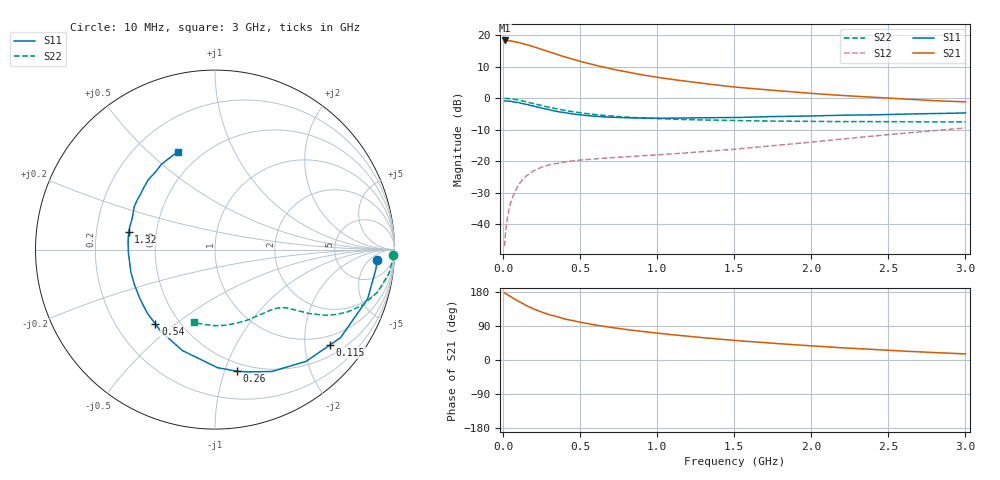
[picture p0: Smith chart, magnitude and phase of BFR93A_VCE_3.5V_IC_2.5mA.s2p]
! Infineon Technologies  Discrete & RF Semiconductors
! BFR93A
! VCE =  3.5 V,  IC =  2.5 mA
! Common Emitter S-Parameters:  Nov 2015
# GHz  S  MA  R  50
!  f  S11  S21  S12  S22
! GHz  MAG  ANG  MAG  ANG  MAG  ANG  MAG  ANG
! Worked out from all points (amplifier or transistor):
!   180 points, 10 MHz to 3 GHz, reference 50 ohm
!   highest |S21| = 18.3 dB at 10 MHz (marker M1)
!   |S21| within 3 dB of that: start of sweep to 260.8 MHz
!   unconditionally stable (mu >= 1): 935 MHz to 2.714 GHz
!   at 160 MHz: K = 0.22, MSG = 20.6 dB, |S12| = -24.3 dB
!   at 1.22 GHz: K = 1.13, MAG = 9.1 dB, |S12| = -17.2 dB
!   at 3 GHz: K = 0.95, MSG = 4.1 dB, |S12| = -9.4 dB
!   S11 on the Smith chart (normalised r, x): 10 MHz: 14, -9; 115 MHz: 0.75, -2.59; 260 MHz: 0.43, -1.10; 540 MHz: 0.37, -0.43; 1.32 GHz: 0.35, +0.09; 3 GHz: 0.38, +0.62
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0.01  0.9066 -3.6  8.234 177.2  0.0045 89.0  0.9942 -1.7
0.025  0.8991 -8.8  8.197 173.2  0.0113 83.5  0.9893 -4.0
0.045  0.8928 -16.1  8.101 167.9  0.02 80.7  0.9799 -7.0
0.1  0.8543 -35.1  7.687 154.9  0.0422 71.0  0.9357 -14.8
0.115  0.8326 -39.6  7.486 151.8  0.0469 68.0  0.9175 -16.5
0.15  0.8033 -50.8  7.113 143.8  0.0583 63.0  0.8783 -20.6
0.2  0.7491 -65.0  6.536 134.4  0.0709 57.1  0.8189 -25.0
0.26  0.6882 -79.8  5.838 125.1  0.0819 51.2  0.7536 -28.8
0.3  0.6579 -88.8  5.426 119.6  0.0876 48.4  0.7149 -30.8
0.4  0.5908 -108.0  4.515 108.2  0.0978 43.5  0.6383 -34.0
0.5  0.5462 -123.5  3.835 99.4  0.1044 40.8  0.5855 -35.9
0.52  0.5384 -126.0  3.728 98.1  0.1054 40.6  0.5779 -36.2
0.54  0.5316 -128.6  3.623 96.7  0.1063 40.4  0.5704 -36.5
0.6  0.5179 -136.6  3.323 92.1  0.1092 39.8  0.5478 -37.4
0.7  0.4994 -147.1  2.921 85.8  0.1138 39.7  0.5211 -38.8
0.8  0.4895 -156.6  2.608 80.3  0.1174 40.2  0.5012 -40.2
1.02  0.4811 -173.5  2.11 70.0  0.1268 42.7  0.4727 -43.9
1.32  0.4903 168.6  1.691 58.0  0.143 47.0  0.4506 -50.5
1.52  0.4936 159.3  1.49 51.2  0.1565 49.9  0.4408 -55.6
2.02  0.524 139.9  1.184 36.8  0.2033 54.5  0.4283 -70.2
2.52  0.5539 124.3  0.995 25.3  0.2669 54.3  0.4237 -87.2
3  0.5834 110.7  0.874 16.1  0.3369 50.7  0.4227 -106.2
